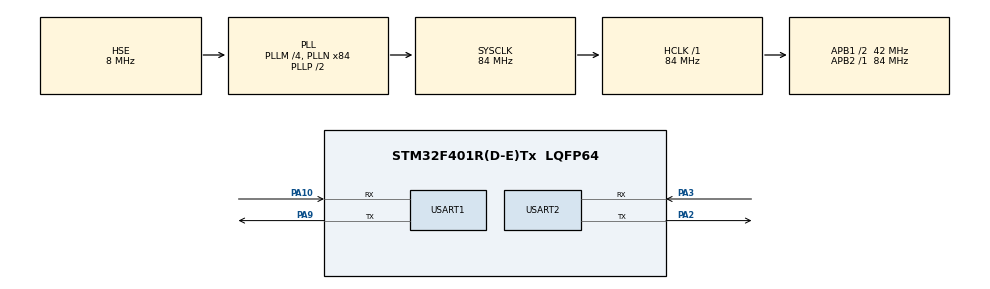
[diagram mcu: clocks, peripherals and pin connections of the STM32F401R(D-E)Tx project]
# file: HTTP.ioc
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Mcu.Family=STM32F4
Mcu.Name=STM32F401R(D-E)Tx
Mcu.Package=LQFP64
NVIC.PriorityGroup=NVIC_PRIORITYGROUP_4
NVIC.USART1_IRQn=true\:0\:0\:false\:false\:true\:true\:true\:true
PA10.Mode=Asynchronous
PA10.Signal=USART1_RX
PA13.Mode=Serial_Wire
PA13.Signal=SYS_JTMS-SWDIO
PA14.Mode=Serial_Wire
PA14.Signal=SYS_JTCK-SWCLK
PA2.Mode=Asynchronous
PA2.Signal=USART2_TX
PA3.Mode=Asynchronous
PA3.Signal=USART2_RX
PA9.Mode=Asynchronous
PA9.Signal=USART1_TX
PH0\ -\ OSC_IN.Mode=HSE-External-Clock-Source
PH0\ -\ OSC_IN.Signal=RCC_OSC_IN
PH1\ -\ OSC_OUT.Mode=HSE-External-Clock-Source
PH1\ -\ OSC_OUT.Signal=RCC_OSC_OUT
ProjectManager.HeapSize=0x200
ProjectManager.StackSize=0x400
ProjectManager.TargetToolchain=MDK-ARM V5.32
RCC.48MHZClocksFreq_Value=42000000
RCC.AHBFreq_Value=84000000
RCC.APB1CLKDivider=RCC_HCLK_DIV2
RCC.APB1Freq_Value=42000000
RCC.APB1TimFreq_Value=84000000
RCC.APB2Freq_Value=84000000
RCC.APB2TimFreq_Value=84000000
RCC.CortexFreq_Value=84000000
RCC.HCLKFreq_Value=84000000
RCC.HSE_VALUE=8000000
RCC.HSI_VALUE=16000000
RCC.LSE_VALUE=32768
RCC.PLLM=4
RCC.PLLN=84
RCC.PLLSourceVirtual=RCC_PLLSOURCE_HSE
RCC.SYSCLKFreq_VALUE=84000000
RCC.SYSCLKSource=RCC_SYSCLKSOURCE_PLLCLK
RCC.VCOOutputFreq_Value=168000000
USART1.VirtualMode=VM_ASYNC
USART2.VirtualMode=VM_ASYNC
board=custom

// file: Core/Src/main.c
/* USER CODE BEGIN Header */
/**
  ******************************************************************************
  * @file           : main.c
  * @brief          : Main program body
  ******************************************************************************
  * @attention
  *
  * Copyright (c) 2026 STMicroelectronics.
  * All rights reserved.
  *
  * This software is licensed under terms that can be found in the LICENSE file
  * in the root directory of this software component.
  * If no LICENSE file comes with this software, it is provided AS-IS.
  *
  ******************************************************************************
  */
/* USER CODE END Header */
#include "main.h"
#include "ESPLib.h"

UART_HandleTypeDef huart1;
UART_HandleTypeDef huart2;

/* USER CODE BEGIN PV */
uint8_t rxData[512];
uint8_t request[512];

volatile uint16_t requestSize = 0;
volatile uint8_t requestReady = 0;
/* USER CODE END PV */

void SystemClock_Config(void);
static void MX_GPIO_Init(void);
static void MX_USART1_UART_Init(void);
static void MX_USART2_UART_Init(void);

int main(void)
{

  /* MCU Configuration--------------------------------------------------------*/

  /* Reset of all peripherals, Initializes the Flash interface and the Systick. */
  HAL_Init();

  /* Configure the system clock */
  SystemClock_Config();

  /* Initialize all configured peripherals */
  MX_GPIO_Init();
  MX_USART1_UART_Init();
  MX_USART2_UART_Init();
  /* USER CODE BEGIN 2 */
ESP8266_Init(StationMode, huart1);
ESP8266_wifiConnect("tharak", "12345678");
char reply[200];
HAL_UART_Receive(&huart1, (uint8_t *)reply, sizeof(reply)-1, 2000);
HAL_Delay(2000);
HAL_UART_Transmit(&huart2, (uint8_t *)reply, strlen(reply), 1000);
char reply1[500] = {0};

uint16_t n = 0;

char cmd1[] = "AT+CIPMUX=1\r\n";
HAL_UART_Transmit(&huart1, (uint8_t *)cmd1, strlen(cmd1), 1000);
HAL_UARTEx_ReceiveToIdle(&huart1, (uint8_t *)reply1, sizeof(reply1), &n, 1000);
HAL_UART_Transmit(&huart2, (uint8_t *)reply1, n, 1000);
char cmd2[] = "AT+CIPSERVER=1,80\r\n";

n = 0;
HAL_UART_Transmit(&huart1, (uint8_t *)cmd2, strlen(cmd2), 1000);
HAL_UARTEx_ReceiveToIdle(&huart1, (uint8_t *)reply1, sizeof(reply1), &n, 1000);
HAL_UART_Transmit(&huart2, (uint8_t *)reply1, n, 1000);
char html[] = "<html><body><h1>STM32 IoT Node</h1></body></html>";
char response[256];

int len = sprintf(response,
    "HTTP/1.1 200 OK\r\n"
    "Content-Type: text/html\r\n"
    "Content-Length: %d\r\n"
    "Connection: close\r\n\r\n"
    "%s", (int)strlen(html), html);
  /* USER CODE END 2 */

  /* Infinite loop */
  /* USER CODE BEGIN WHILE */
uint16_t size;
  while (1)
  {
    /* USER CODE END WHILE */
size = 0;
    HAL_UARTEx_ReceiveToIdle(&huart1, rxData, sizeof(rxData), &size, 1000);

    if (size > 6 && memcmp(rxData, "+IPD,", 5) == 0)
    {
        HAL_UART_Transmit(&huart2, rxData, size, 1000);

        char cmd[40];
        char ack[100] = {0};
        uint16_t n = 0;

        sprintf(cmd, "AT+CIPSEND=%c,%d\r\n", rxData[5], len);
        HAL_UART_Transmit(&huart1, (uint8_t *)cmd, strlen(cmd), 1000);

        HAL_UARTEx_ReceiveToIdle(&huart1, (uint8_t *)ack, sizeof(ack)-1, &n, 1000);

        if (memchr(ack, '>', n))
        {
            HAL_UART_Transmit(&huart1, (uint8_t *)response, len, 1000);

            memset(ack, 0, sizeof(ack));
            HAL_UARTEx_ReceiveToIdle(&huart1, (uint8_t *)ack, sizeof(ack)-1, &n, 2000);

            if (strstr(ack, "SEND OK"))
            {
                sprintf(cmd, "AT+CIPCLOSE=%c\r\n", rxData[5]);
                HAL_UART_Transmit(&huart1, (uint8_t *)cmd, strlen(cmd), 1000);
            }
        }
    }
  }
}

void SystemClock_Config(void)
{
  RCC_OscInitTypeDef RCC_OscInitStruct = {0};
  RCC_ClkInitTypeDef RCC_ClkInitStruct = {0};

  /** Configure the main internal regulator output voltage
  */
  __HAL_RCC_PWR_CLK_ENABLE();
  __HAL_PWR_VOLTAGESCALING_CONFIG(PWR_REGULATOR_VOLTAGE_SCALE2);

  /** Initializes the RCC Oscillators according to the specified parameters
  * in the RCC_OscInitTypeDef structure.
  */
  RCC_OscInitStruct.OscillatorType = RCC_OSCILLATORTYPE_HSE;
  RCC_OscInitStruct.HSEState = RCC_HSE_BYPASS;
  RCC_OscInitStruct.PLL.PLLState = RCC_PLL_ON;
  RCC_OscInitStruct.PLL.PLLSource = RCC_PLLSOURCE_HSE;
  RCC_OscInitStruct.PLL.PLLM = 4;
  RCC_OscInitStruct.PLL.PLLN = 84;
  RCC_OscInitStruct.PLL.PLLP = RCC_PLLP_DIV2;
  RCC_OscInitStruct.PLL.PLLQ = 4;
  if (HAL_RCC_OscConfig(&RCC_OscInitStruct) != HAL_OK)
  {
    Error_Handler();
  }

  /** Initializes the CPU, AHB and APB buses clocks
  */
  RCC_ClkInitStruct.ClockType = RCC_CLOCKTYPE_HCLK|RCC_CLOCKTYPE_SYSCLK
                              |RCC_CLOCKTYPE_PCLK1|RCC_CLOCKTYPE_PCLK2;
  RCC_ClkInitStruct.SYSCLKSource = RCC_SYSCLKSOURCE_PLLCLK;
  RCC_ClkInitStruct.AHBCLKDivider = RCC_SYSCLK_DIV1;
  RCC_ClkInitStruct.APB1CLKDivider = RCC_HCLK_DIV2;
  RCC_ClkInitStruct.APB2CLKDivider = RCC_HCLK_DIV1;

  if (HAL_RCC_ClockConfig(&RCC_ClkInitStruct, FLASH_LATENCY_2) != HAL_OK)
  {
    Error_Handler();
  }
}

static void MX_USART1_UART_Init(void)
{

  huart1.Instance = USART1;
  huart1.Init.BaudRate = 115200;
  huart1.Init.WordLength = UART_WORDLENGTH_8B;
  huart1.Init.StopBits = UART_STOPBITS_1;
  huart1.Init.Parity = UART_PARITY_NONE;
  huart1.Init.Mode = UART_MODE_TX_RX;
  huart1.Init.HwFlowCtl = UART_HWCONTROL_NONE;
  huart1.Init.OverSampling = UART_OVERSAMPLING_16;
  if (HAL_UART_Init(&huart1) != HAL_OK)
  {
    Error_Handler();
  }

}

static void MX_USART2_UART_Init(void)
{

  huart2.Instance = USART2;
  huart2.Init.BaudRate = 115200;
  huart2.Init.WordLength = UART_WORDLENGTH_8B;
  huart2.Init.StopBits = UART_STOPBITS_1;
  huart2.Init.Parity = UART_PARITY_NONE;
  huart2.Init.Mode = UART_MODE_TX_RX;
  huart2.Init.HwFlowCtl = UART_HWCONTROL_NONE;
  huart2.Init.OverSampling = UART_OVERSAMPLING_16;
  if (HAL_UART_Init(&huart2) != HAL_OK)
  {
    Error_Handler();
  }

}

static void MX_GPIO_Init(void)
{

  /* GPIO Ports Clock Enable */
  __HAL_RCC_GPIOH_CLK_ENABLE();
  __HAL_RCC_GPIOA_CLK_ENABLE();

}

void Error_Handler(void)
{
  __disable_irq();
  while (1)
  {
  }
}
